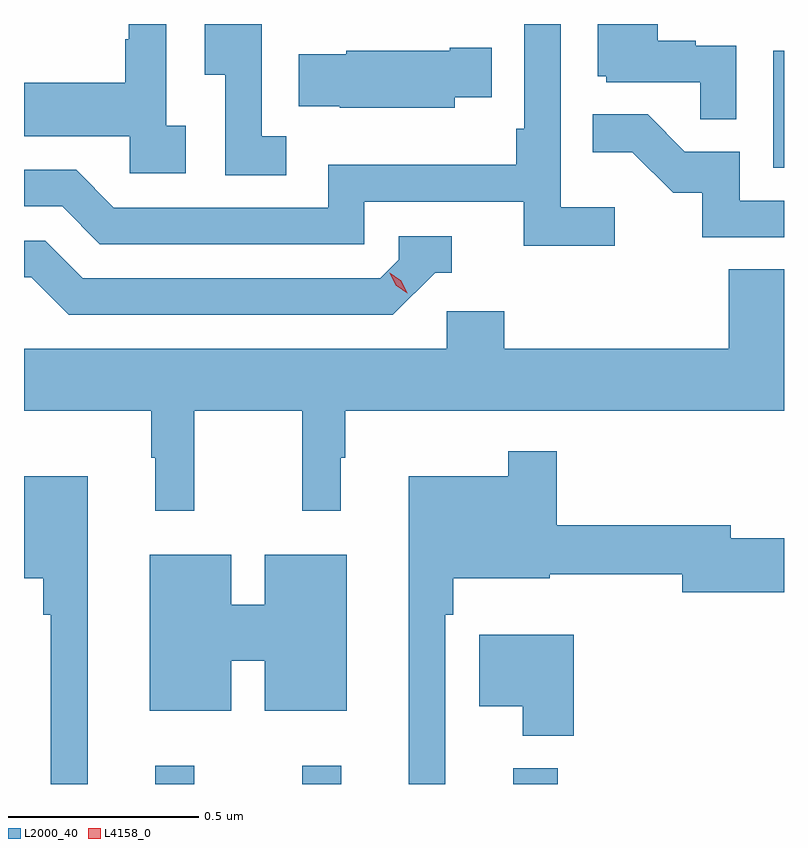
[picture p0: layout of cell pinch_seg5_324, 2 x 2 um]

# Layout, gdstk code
import gdstk
lib = gdstk.Library(unit=1e-6, precision=1e-09)
def R(c, l, rs):  # rectangles x0, y0, x1, y1
    for r in rs: c.add(gdstk.rectangle(r[:2], r[2:], *l))
def P(c, l, *ps):  # polygons
    for p in ps: c.add(gdstk.Polygon(p, *l))
L2000_40 = (2000, 40)
L4158_0 = (4158, 0)

pinch_seg5_324 = lib.new_cell('pinch_seg5_324')
R(pinch_seg5_324, L2000_40, [(936.518,873.094,936.62,873.142), (936.904,873.094,937.007,873.142), (937.46,873.094,937.577,873.136), (938.144,874.716,938.172,875.023)])
P(pinch_seg5_324, L2000_40, [(936.598,874.826),(936.546,874.826),(936.546,875.094),(936.448,875.094),(936.448,875.054),(936.438,875.054),(936.438,874.939),(936.172,874.939),(936.172,874.799),(936.45,874.799),(936.45,874.701),(936.598,874.701)],
  [(937.726,874.612),(937.584,874.612),(937.584,875.094),(937.488,875.094),(937.488,874.819),(937.468,874.819),(937.468,874.723),(936.972,874.723),(936.972,874.611),(936.408,874.611),(936.309,874.71),(936.172,874.71),(936.172,874.614),(936.272,874.614),(936.371,874.515),(937.068,874.515),(937.068,874.626),(937.487,874.626),(937.487,874.51),(937.726,874.51)],
  [(936.862,874.799),(936.798,874.799),(936.798,875.094),(936.647,875.094),(936.647,874.96),(936.702,874.96),(936.702,874.696),(936.862,874.696)],
  [(938.046,875.037),(937.94,875.037),(937.94,875.05),(937.84,875.05),(937.84,875.094),(937.682,875.094),(937.682,874.956),(937.704,874.956),(937.704,874.941),(937.951,874.941),(937.951,874.843),(938.046,874.843)],
  [(937.305,874.901),(937.403,874.901),(937.403,875.031),(937.292,875.031),(937.292,875.023),(937.02,875.023),(937.02,875.014),(936.895,875.014),(936.895,874.877),(937.003,874.877),(937.003,874.874),(937.305,874.874)],
  [(938.172,874.629),(938.055,874.629),(938.055,874.758),(937.911,874.758),(937.813,874.856),(937.669,874.856),(937.669,874.757),(937.773,874.757),(937.88,874.65),(937.957,874.65),(937.957,874.533),(938.172,874.533)],
  [(937.254,874.44),(937.297,874.44),(937.297,874.536),(937.158,874.536),(937.158,874.473),(937.11,874.425),(936.327,874.425),(936.228,874.524),(936.172,874.524),(936.172,874.428),(936.191,874.428),(936.29,874.329),(937.143,874.329)],
  [(936.62,874.076),(936.904,874.076),(936.904,873.813),(937.006,873.813),(937.006,873.953),(937.018,873.953),(937.018,874.076),(938.172,874.076),(938.172,874.448),(938.027,874.448),(938.027,874.24),(937.436,874.24),(937.436,874.338),(937.284,874.338),(937.284,874.24),(936.172,874.24),(936.172,874.076),(936.507,874.076),(936.507,873.953),(936.518,873.953),(936.518,873.813),(936.62,873.813)],
  [(937.281,873.539),(937.301,873.539),(937.301,873.635),(937.555,873.635),(937.555,873.646),(937.904,873.646),(937.904,873.599),(938.172,873.599),(938.172,873.741),(938.032,873.741),(938.032,873.775),(937.574,873.775),(937.574,873.97),(937.446,873.97),(937.446,873.904),(937.184,873.904),(937.184,873.094),(937.281,873.094)],
  [(936.34,873.904),(936.172,873.904),(936.172,873.635),(936.223,873.635),(936.223,873.539),(936.243,873.539),(936.243,873.094),(936.34,873.094)],
  [(936.718,873.419),(936.806,873.419),(936.806,873.287),(937.021,873.287),(937.021,873.697),(936.806,873.697),(936.806,873.566),(936.718,873.566),(936.718,873.697),(936.503,873.697),(936.503,873.287),(936.718,873.287)],
  [(937.619,873.487),(937.37,873.487),(937.37,873.299),(937.484,873.299),(937.484,873.221),(937.619,873.221)])
P(pinch_seg5_324, L4158_0, [(937.18,874.386),(937.15,874.406),(937.134,874.439),(937.134,874.44),(937.134,874.44),(937.165,874.419),(937.18,874.386),(937.18,874.386)])

lib.write_gds('pinch_seg5_324.gds')
